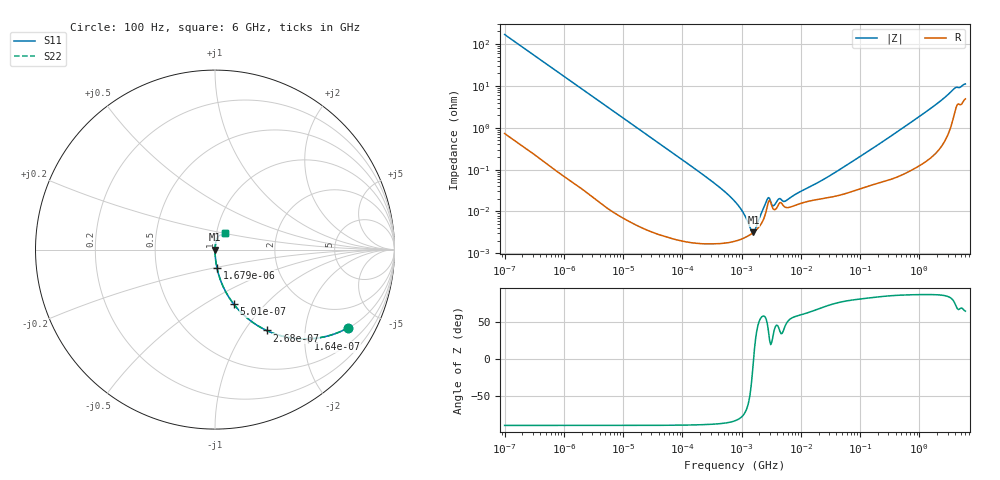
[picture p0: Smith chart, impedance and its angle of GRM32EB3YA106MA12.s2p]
!Murata Part Number: GRM32EB3YA106MA12
!These Parameters are Measured in Series Mode Connection
!Data Generated on Mar 30, 2021
!  o--ll--o
!Port1  Port2
!  o------o
!Operation Temp=25[degC], DC Bias Voltage=0[V]
!Freq. Start=100[Hz] Stop=6[GHz] 401[Steps]
# Hz S RI R 50
!Freq.(Hz) S11(Real) S11(Imag) S21(Real) S21(Imag) S12(Real) S12(Imag) S22(Real) S22(Imag)
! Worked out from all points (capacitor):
!   401 points, 100 Hz to 6 GHz, reference 50 ohm
!   read as one part in series: C = 9.38 uF near 109 Hz
!   lowest |Z| = 3.17 mohm at 1.586 MHz (marker M1)
!   series resonance near 1.597 MHz, so ESL is about 1.1 nH
!   S11 on the Smith chart (normalised r, x): 100 Hz: 1.01, -3.39; 164 Hz: 1.01, -2.07; 268 Hz: 1.01, -1.27; 501 Hz: 1.00, -0.68; 1.679 kHz: 1.00, -0.20; 6 GHz: 1.10, +0.20
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100  0.7406 -0.4362  0.2594 0.4362  0.2594 0.4362  0.7406 -0.4362
164  0.5178 -0.4975  0.4822 0.4975  0.4822 0.4975  0.5178 -0.4975
268  0.2877 -0.4505  0.7123 0.4505  0.7123 0.4505  0.2877 -0.4505
501  0.1043 -0.3036  0.8957 0.3036  0.8957 0.3036  0.1043 -0.3036
1679  0.0106 -0.1005  0.9894 0.1005  0.9894 0.1005  0.0106 -0.1005
2008  0.00752 -0.0844  0.9925 0.0844  0.9925 0.0844  0.00752 -0.0844
40335  4.61e-05 -0.00426  1 0.00426  1 0.00426  4.61e-05 -0.00426
330837  1.71e-05 -0.000499  1 0.000499  1 0.000499  1.71e-05 -0.000499
774597  1.95e-05 -0.000171  1 0.000171  1 0.000171  1.95e-05 -0.000171
1059725  2.26e-05 -9.25e-05  1 9.25e-05  1 9.25e-05  2.26e-05 -9.25e-05
1585629  3.17e-05 -1.6e-06  1 1.6e-06  1 1.6e-06  3.17e-05 -1.6e-06
2169299  5.2e-05 7.68e-05  0.9999 -7.68e-05  0.9999 -7.68e-05  5.2e-05 7.68e-05
2837864  0.000171 0.00013  0.9998 -0.00013  0.9998 -0.00013  0.000171 0.00013
3549919  0.00011 8.67e-05  0.9999 -8.67e-05  0.9999 -8.67e-05  0.00011 8.67e-05
4246196  0.00015 0.000132  0.9998 -0.000132  0.9998 -0.000132  0.00015 0.000132
5554849  0.000125 0.000128  0.9999 -0.000128  0.9999 -0.000128  0.000125 0.000128
1.555665e7  0.000183 0.000373  0.9998 -0.000373  0.9998 -0.000373  0.000183 0.000373
3.983537e7  0.000235 0.000862  0.9998 -0.000862  0.9998 -0.000862  0.000235 0.000862
3.124326e8  0.000604 0.00593  0.9994 -0.00593  0.9994 -0.00593  0.000604 0.00593
1.712697e9  0.00315 0.0318  0.9969 -0.0318  0.9969 -0.0318  0.00315 0.0318
3.8344e9  0.0251 0.0791  0.9749 -0.0791  0.9749 -0.0791  0.0251 0.0791
6e9  0.0553 0.0901  0.9447 -0.0901  0.9447 -0.0901  0.0553 0.0901
